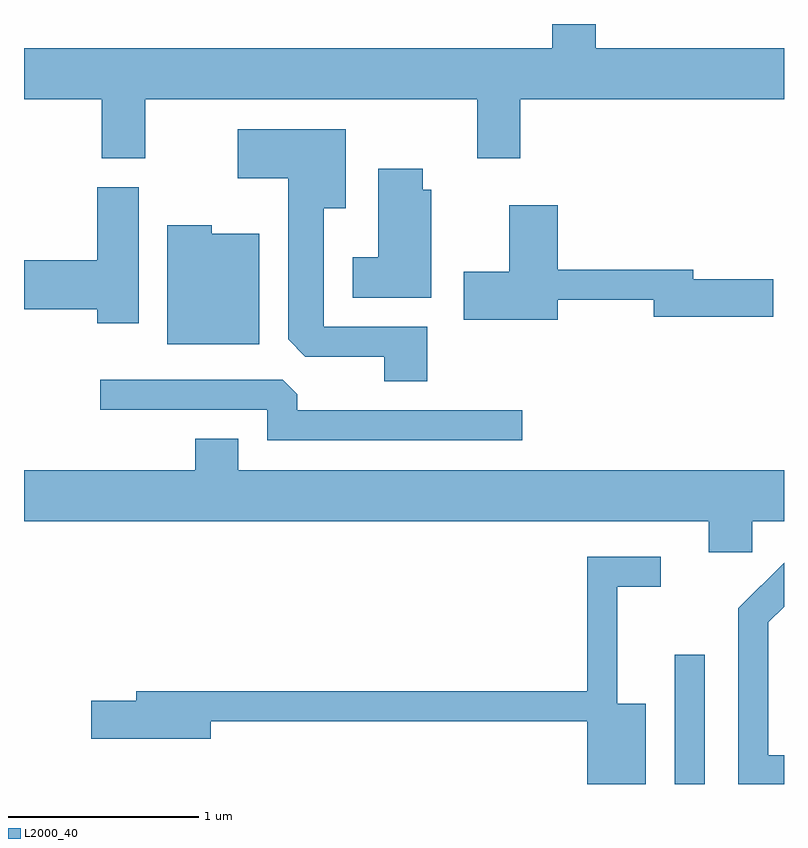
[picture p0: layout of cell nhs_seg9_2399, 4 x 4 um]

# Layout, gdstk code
import gdstk
lib = gdstk.Library(unit=1e-6, precision=1e-09)
def R(c, l, rs):  # rectangles x0, y0, x1, y1
    for r in rs: c.add(gdstk.rectangle(r[:2], r[2:], *l))
def P(c, l, *ps):  # polygons
    for p in ps: c.add(gdstk.Polygon(p, *l))
L2000_40 = (2000, 40)

nhs_seg9_2399 = lib.new_cell('nhs_seg9_2399')
R(nhs_seg9_2399, L2000_40, [(259.036,1990.432,259.194,1991.113)])
P(nhs_seg9_2399, L2000_40, [(258.391,1994.432),(258.391,1994.304),(255.611,1994.304),(255.611,1994.036),(256.021,1994.036),(256.021,1993.726),(256.249,1993.726),(256.249,1994.036),(257.996,1994.036),(257.996,1993.726),(258.224,1993.726),(258.224,1994.036),(259.611,1994.036),(259.611,1994.304),(258.619,1994.304),(258.619,1994.432)],
  [(257.734,1992.839),(257.189,1992.839),(257.189,1993.461),(257.304,1993.461),(257.304,1993.879),(256.736,1993.879),(256.736,1993.621),(257.001,1993.621),(257.001,1992.772),(257.092,1992.681),(257.506,1992.681),(257.506,1992.551),(257.734,1992.551)],
  [(257.754,1993.559),(257.709,1993.559),(257.709,1993.669),(257.476,1993.669),(257.476,1993.204),(257.341,1993.204),(257.341,1992.991),(257.754,1992.991)],
  [(256.214,1993.574),(255.996,1993.574),(255.996,1993.189),(255.611,1993.189),(255.611,1992.931),(255.996,1992.931),(255.996,1992.856),(256.214,1992.856)],
  [(258.419,1992.981),(258.926,1992.981),(258.926,1992.891),(259.554,1992.891),(259.554,1993.089),(259.134,1993.089),(259.134,1993.139),(258.419,1993.139),(258.419,1993.479),(258.166,1993.479),(258.166,1993.129),(257.926,1993.129),(257.926,1992.876),(258.419,1992.876)],
  [(256.849,1993.329),(256.599,1993.329),(256.599,1993.374),(256.366,1993.374),(256.366,1992.746),(256.849,1992.746)],
  [(258.233,1992.399),(257.049,1992.399),(257.049,1992.484),(256.974,1992.559),(256.013,1992.559),(256.013,1992.401),(256.891,1992.401),(256.891,1992.241),(258.233,1992.241)],
  [(259.444,1991.816),(259.611,1991.816),(259.611,1992.084),(256.739,1992.084),(256.739,1992.249),(256.511,1992.249),(256.511,1992.084),(255.611,1992.084),(255.611,1991.816),(259.216,1991.816),(259.216,1991.651),(259.444,1991.651)],
  [(258.884,1990.854),(258.734,1990.854),(258.734,1991.471),(258.962,1991.471),(258.962,1991.629),(258.576,1991.629),(258.576,1990.919),(256.201,1990.919),(256.201,1990.869),(255.966,1990.869),(255.966,1990.671),(256.594,1990.671),(256.594,1990.761),(258.576,1990.761),(258.576,1990.432),(258.884,1990.432)],
  [(259.611,1990.584),(259.529,1990.584),(259.529,1991.284),(259.611,1991.366),(259.611,1991.596),(259.371,1991.357),(259.371,1990.432),(259.611,1990.432)])

lib.write_gds('nhs_seg9_2399.gds')
